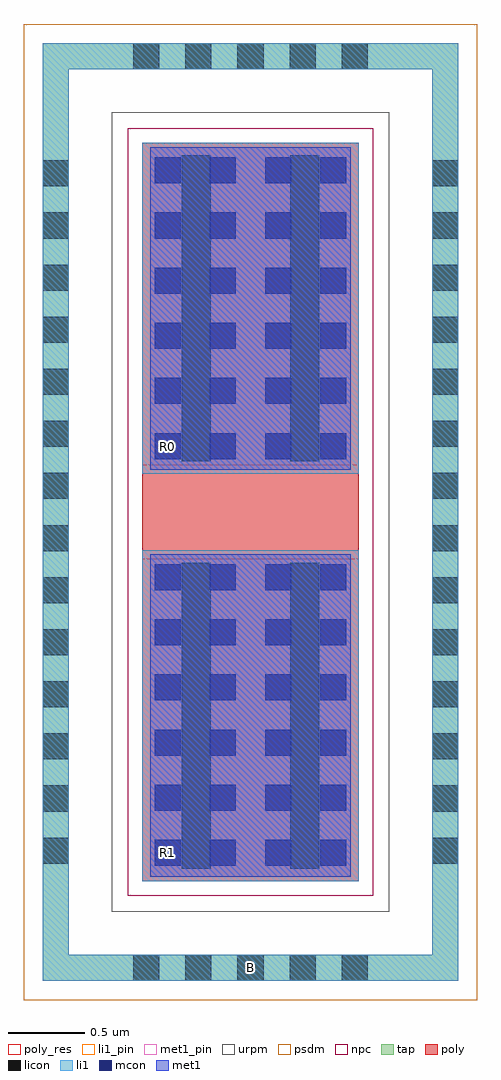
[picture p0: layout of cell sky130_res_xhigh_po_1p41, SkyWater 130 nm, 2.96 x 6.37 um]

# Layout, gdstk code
import gdstk
lib = gdstk.Library(unit=1e-6, precision=1e-09)
def R(c, l, rs):  # rectangles x0, y0, x1, y1
    for r in rs: c.add(gdstk.rectangle(r[:2], r[2:], *l))
def A(c, l, x, y, w, h, nx, ny, dx, dy):  # array of equal rectangles
    R(c, l, [(x+i*dx, y+j*dy, x+i*dx+w, y+j*dy+h) for i in range(nx) for j in range(ny)])
tap = (65, 44)
poly_res = (66, 13)
poly = (66, 20)
licon = (66, 44)
li1_pin = (67, 16)
li1 = (67, 20)
mcon = (67, 44)
met1_pin = (68, 16)
met1 = (68, 20)
urpm = (79, 20)
psdm = (94, 20)
npc = (95, 20)

res_poly = lib.new_cell('res_poly')
R(res_poly, tap, [(-1.355,-3.06,1.355,-2.89), (-1.355,-2.89,-1.185,2.89), (1.185,-2.89,1.355,2.89), (-1.355,2.89,1.355,3.06)])
R(res_poly, poly_res, [(-0.705,-0.31,0.705,0.31)])
R(res_poly, poly, [(-0.705,-2.41,0.705,2.41)])
A(res_poly, licon, -0.765, -3.06, 0.17, 0.17, 5, 2, 0.34, 5.95)
A(res_poly, licon, -1.355, -2.295, 0.17, 0.17, 1, 14, 0, 0.34)
A(res_poly, licon, 1.185, -2.295, 0.17, 0.17, 1, 14, 0, 0.34)
R(res_poly, licon, [(-0.45,-2.33,-0.26,-0.33), (0.26,-2.33,0.45,-0.33), (-0.45,0.33,-0.26,2.33), (0.26,0.33,0.45,2.33)])
R(res_poly, li1, [(-1.355,-3.06,1.355,-2.89), (-1.355,-2.89,-1.185,2.89), (1.185,-2.89,1.355,2.89), (-0.705,-2.41,0.705,-0.25), (-0.705,0.25,0.705,2.41), (-1.355,2.89,1.355,3.06)])
A(res_poly, mcon, -0.625, -2.31, 0.17, 0.17, 4, 6, 0.36, 0.36)
A(res_poly, mcon, -0.625, 0.345, 0.17, 0.17, 4, 6, 0.36, 0.36)
R(res_poly, met1, [(-0.655,-2.38,0.655,-0.275), (-0.655,0.275,0.655,2.38)])
R(res_poly, urpm, [(-0.905,-2.61,0.905,2.61)])
R(res_poly, psdm, [(-1.48,-3.185,1.48,3.185)])
R(res_poly, npc, [(-0.8,-2.505,0.8,2.505)])

sky130_res_xhigh_po_1p41 = lib.new_cell('sky130_res_xhigh_po_1p41')
R(sky130_res_xhigh_po_1p41, li1_pin, [(-0.085,-3.06,0.085,-2.89)])
R(sky130_res_xhigh_po_1p41, met1_pin, [(-0.625,-2.31,-0.455,-2.14), (-0.625,0.345,-0.455,0.515)])
sky130_res_xhigh_po_1p41.add(gdstk.Reference(res_poly, (0,0)))
sky130_res_xhigh_po_1p41.add(gdstk.Label('R0', (-0.54,0.43), layer=68, texttype=5))
sky130_res_xhigh_po_1p41.add(gdstk.Label('R1', (-0.54,-2.225), layer=68, texttype=5))
sky130_res_xhigh_po_1p41.add(gdstk.Label('B', (0,-2.975), layer=67, texttype=5))

lib.write_gds('sky130_res_xhigh_po_1p41.gds')
